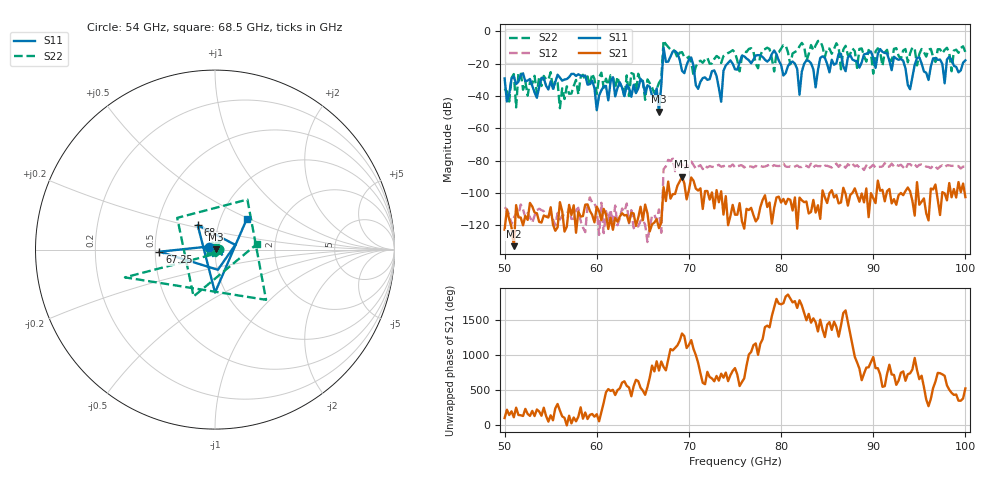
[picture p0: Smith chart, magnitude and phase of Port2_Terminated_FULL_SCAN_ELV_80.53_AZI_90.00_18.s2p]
! 11/25/2026 1:46:55 PM
! C:\ANRITSUVNA\TEMP\TEMP.S2P
! CHANNEL.1
! TR.MEASUREMENT
! RAW.DATA
# HZ S RI R 50.0
! FREQ.HZ  S11RE  S11IM  S21RE  S21IM  S12RE  S12IM  S22RE  S22IM
!; PortSelection: Port_12
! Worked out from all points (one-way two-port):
!   201 points, 50 GHz to 100 GHz, reference 50 ohm
!   highest |S21| = -90.04 dB at 69.25 GHz (marker M1); lowest = -133.0 dB at 51 GHz (marker M2)
!   lowest |S11| = -49.7 dB at 66.75 GHz (marker M3), VSWR 1.01, Z = 50.3 + j0.0706 ohm
!   |S11| at or under -10 dB: start of sweep to end of sweep
!   |S22| runs from -47.6 to -5.6 dB; largest |S21 - S12| = 0.00013
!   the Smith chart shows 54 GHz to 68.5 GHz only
!   S11 on the Smith chart (normalised r, x): 54 GHz: 0.93, +0.03; 67.25 GHz: 0.53, -0.01; 68 GHz: 0.80, +0.22; 68.5 GHz: 1.33, +0.49
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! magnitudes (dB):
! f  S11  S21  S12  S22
! 50 GHz  -29.1  -122.8  -108.9  -35.6
! 51 GHz  -27.9  -133.0  -115.6  -26.4
! 51.25 GHz  -32.6  -107.6  -112.7  -47.0
! 51.5 GHz  -31.2  -115.1  -113.9  -26.0
! 54 GHz  -28.7  -118.4  -110.7  -33.8
! 56 GHz  -28.6  -105.7  -116.6  -47.6
! 58.5 GHz  -27.7  -114.4  -121.4  -26.9
! 60 GHz  -48.8  -108.6  -110.7  -38.9
! 61.75 GHz  -28.4  -122.8  -119.3  -27.6
! 66.75 GHz  -49.7  -121.9  -110.2  -31.9
! 67.25 GHz  -10.2  -96.4  -85.3  -5.6
! 68 GHz  -15.5  -103.6  -80.3  -11.2
! 68.5 GHz  -12.1  -100.7  -86.6  -12.6
! 69.25 GHz  -24.4  -90.0  -82.2  -12.8
! 72.75 GHz  -24.1  -109.6  -84.0  -17.1
! 73.5 GHz  -43.6  -99.0  -83.8  -19.5
! 75 GHz  -23.5  -113.5  -84.2  -13.0
! 83.5 GHz  -23.4  -104.4  -84.1  -11.7
! 91.75 GHz  -18.2  -97.6  -83.7  -17.5
! 94 GHz  -35.8  -99.0  -82.2  -13.6
! 94.75 GHz  -16.5  -93.3  -83.9  -21.1
! 100 GHz  -17.9  -102.6  -83.8  -12.8
